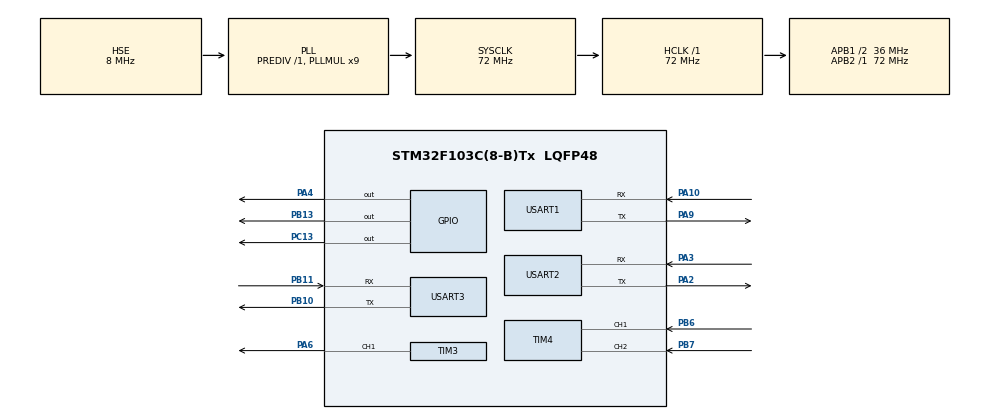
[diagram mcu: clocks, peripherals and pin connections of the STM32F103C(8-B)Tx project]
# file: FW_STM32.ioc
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Mcu.Family=STM32F1
Mcu.Name=STM32F103C(8-B)Tx
Mcu.Package=LQFP48
NVIC.PriorityGroup=NVIC_PRIORITYGROUP_4
NVIC.TIM2_IRQn=true\:0\:0\:false\:false\:true\:true\:true
NVIC.USART1_IRQn=true\:0\:0\:false\:false\:true\:true\:true
NVIC.USART2_IRQn=true\:0\:0\:false\:false\:true\:true\:true
NVIC.USART3_IRQn=true\:0\:0\:false\:false\:true\:true\:true
PA10.Mode=Asynchronous
PA10.Signal=USART1_RX
PA13.Mode=Serial_Wire
PA13.Signal=SYS_JTMS-SWDIO
PA14.Mode=Serial_Wire
PA14.Signal=SYS_JTCK-SWCLK
PA2.Mode=Asynchronous
PA2.Signal=USART2_TX
PA3.Mode=Asynchronous
PA3.Signal=USART2_RX
PA4.Signal=GPIO_Output
PA6.Signal=S_TIM3_CH1
PA9.Mode=Asynchronous
PA9.Signal=USART1_TX
PB10.Mode=Asynchronous
PB10.Signal=USART3_TX
PB11.Mode=Asynchronous
PB11.Signal=USART3_RX
PB13.Signal=GPIO_Output
PB6.Signal=S_TIM4_CH1
PB7.Signal=S_TIM4_CH2
PC13-TAMPER-RTC.Signal=GPIO_Output
PD0-OSC_IN.Mode=HSE-External-Oscillator
PD0-OSC_IN.Signal=RCC_OSC_IN
PD1-OSC_OUT.Mode=HSE-External-Oscillator
PD1-OSC_OUT.Signal=RCC_OSC_OUT
ProjectManager.HeapSize=0x200
ProjectManager.StackSize=0x400
ProjectManager.TargetToolchain=MDK-ARM V5.27
RCC.AHBFreq_Value=72000000
RCC.APB1CLKDivider=RCC_HCLK_DIV2
RCC.APB1Freq_Value=36000000
RCC.APB1TimFreq_Value=72000000
RCC.APB2Freq_Value=72000000
RCC.APB2TimFreq_Value=72000000
RCC.HCLKFreq_Value=72000000
RCC.PLLMUL=RCC_PLL_MUL9
RCC.PLLSourceVirtual=RCC_PLLSOURCE_HSE
RCC.SYSCLKFreq_VALUE=72000000
RCC.SYSCLKSource=RCC_SYSCLKSOURCE_PLLCLK
RCC.USBFreq_Value=72000000
SH.S_TIM3_CH1.0=TIM3_CH1,PWM Generation1 CH1
SH.S_TIM4_CH1.0=TIM4_CH1,Encoder_Interface
SH.S_TIM4_CH2.0=TIM4_CH2,Encoder_Interface
TIM2.Period=3599
TIM2.Prescaler=99
TIM3.Channel-PWM\ Generation1\ CH1=TIM_CHANNEL_1
TIM3.CounterMode=TIM_COUNTERMODE_CENTERALIGNED3
TIM3.Period=7199
TIM3.Prescaler=9
TIM4.EncoderMode=TIM_ENCODERMODE_TI12
USART1.VirtualMode=VM_ASYNC
USART2.VirtualMode=VM_ASYNC
USART3.VirtualMode=VM_ASYNC
VP_TIM2_VS_ClockSourceINT.Mode=Internal
board=custom

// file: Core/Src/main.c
#include "main.h"
#include "tim.h"
#include "usart.h"
#include "gpio.h"

#include <stdbool.h>
#include <stdint.h>
#include <string.h>
#include <math.h>
#include <stdio.h>
#include <stdlib.h>

#include "pid.h"
#include "motor.h"
#include "serial.h"
#include "cJSON.h"
#include "pidspeedgraph.h"

//xu  ly json

unsigned  int i = 0;
float SETP = 0;
float SS = 0;
float ACT = 0;
unsigned int GTKP = 0;
unsigned int GTKI = 0;
unsigned int GTKD = 0;
char Str_set_point[100];
char Str_error_data[100];
char Str_act_pos[100];
char Str_gtrKp[100];
char Str_gtrKi[100];
char Str_gtrKd[100];
char JSON[100];

cJSON *str_json,*str_set_point, *str_error_data, *str_act_pos, *str_gtrKp , *str_gtrKi, *str_gtrKd, *str_Mode;
long last = 0;

//khai bao du lieu

 void chuyendoi(void);
void SendData(unsigned int SETP , unsigned int SS , unsigned int ACT , unsigned int GTKP , unsigned int GTKI , unsigned  int GTKD);
void SystemClock_Config(void);

//truy?n prinft
#ifdef __GNUC__
     #define PUTCHAR_PROTOTYPE int __io_putchar (int ch)
#else
		 #define PUTCHAR_PROTOTYPE int fputc(int ch, FILE *f)
#endif
PUTCHAR_PROTOTYPE
{// CONG PC

	HAL_UART_Transmit(&huart3, (uint8_t *)&ch,1,0xFFFF);

	return ch;}

/* USER CODE BEGIN 0 */
extern PID_CONTROL_t tPIDControl;
extern PROFILE_t tProfile;
extern PROCESS_t tProcess;
extern bool flag;
extern bool g_bDataAvailable;
extern uint8_t nTxBuff[MAX_LEN];
extern uint8_t g_strCommand[4];
extern uint8_t g_nOption[3];
extern uint8_t g_nData[8];
extern uint8_t g_nRxBuff[MAX_LEN];
extern uint32_t g_nActPulse;
extern uint32_t g_nCmdPulse;
extern uint16_t g_nIndex;
extern float g_dPIDError;
extern double speed, position;
 extern int a;
//copy
uint8_t Comand[4];
uint8_t option[3];
uint8_t CLEAR[64];
//extern char speed_txBuffer[64]; //tx
//extern uint8_t speed_rxBuffer[64]; //rx
extern double Kp , Ki, Kd;
extern int duty, run, mode;
extern double e, ep, p_e, pp_e, pPart , iPart, dPart, udk, predPart , pwm;
extern float m_i;

 extern int setpoint;
float sect;

bool temp = false;
 int stop=0;
//uint8_t rx_data;
uint8_t g_strTxCommand[4];
uint8_t g_nTxOption[3];
uint8_t g_nTxData[8];
uint16_t g_nTuningSampleCount = 0;
/* USER CODE END 0 */

int main(void)
 {

  HAL_Init();

  SystemClock_Config();

  MX_GPIO_Init();
  MX_USART1_UART_Init();
  MX_TIM2_Init();
  MX_TIM3_Init();
  MX_TIM4_Init();
  MX_USART2_UART_Init();
  MX_USART3_UART_Init();
	 //  MX_DMA_Init();
  /* USER CODE BEGIN 2 */
  SerialInit();
  MotorInit();
  tProcess = NONE;
   last = HAL_GetTick();
  while (1)
  {
			    if(a!=2)
		{	SerialAcceptReceivespeed();}
		else
		{
			      if (flag == true)
	  	  	{
	  	  	Receive_data_processing();
						HAL_Delay(1000);
						 flag = false;
					SerialAcceptReceivespeed();
		       }

	  	  	if (run==1)
	  	  	{
	  	  		m_i = ENC0_GetSpeed();
	  	  		if (mode==1)
	  	  		{
						speed=m_i*60.0/0.2/2120;
//							if (speed > 65000){
//			      speed = 65535 - speed;}

							kalman_filter(speed);

	  	  		//	PIDCompute(&tPIDControl, setpoint, speed, 0.01f);
							PID_speed();
	  	  		}

	  	  		xuat_PWM();
	  	  		HAL_Delay(200);
	  	  	}
	  	  	else
	  	  	{
	  	    	m_i=ENC0_GetSpeed();
	  	    	setpoint=0;
	  	    	pwm=0;
	  	  		if (mode==1)
	  	  		{
	  	  			speed=m_i*60.0/0.2/2120;
//							if (speed > 65000){
//			      speed = 65535 - speed;}
					      kalman_filter(speed);
	  	  			//PIDCompute(&tPIDControl, setpoint, speed, 0.01f);
							PID_speed();
	  	  		}

	  	  		udk=0;
	  	  		xuat_PWM();
	  	  		HAL_Delay(100);
	  	  	}

		}

		if (a !=2 )
		{	if (HAL_GetTick() - last >= 1500)
		  {
		chuyendoi();
		SendData( SETP ,  SS ,  ACT ,  GTKP ,  GTKI ,  GTKD);
			last = HAL_GetTick();

		  }

		}

    if (g_bDataAvailable == true)
    {
      if (StrCompare(g_strCommand, (uint8_t *)"SPID", 4))
      {
        tProcess = SPID;
      }
      else if (StrCompare(g_strCommand, (uint8_t *)"CTUN", 4))
      {
        tProcess = CTUN_RES;
      }
			else if (StrCompare(g_strCommand, (uint8_t *)"SECT", 4))
      {
        tProcess = SECT;
      }
			else if (StrCompare(g_strCommand, (uint8_t *)"SPED", 4))
      {
        tProcess = SPED;
      }
			else if (StrCompare(g_strCommand, (uint8_t *)"SERV", 4))
      {
        tProcess = SERV;
      }
			else if (StrCompare(g_strCommand, (uint8_t *)"STOP", 4))
      {
        tProcess = STOP;
      }
      else if (StrCompare(g_strCommand, (uint8_t *)"GPID", 4))
      {
        tProcess = GPID;
      }
      else if (StrCompare(g_strCommand, (uint8_t *)"CSET", 4))
      {
        tProcess = CSET;
      }
      else if (StrCompare(g_strCommand, (uint8_t *)"CRUN", 4))
      {
        tProcess = CRUN_RES;
      }
      else if (StrCompare(g_strCommand, (uint8_t *)"GRMS", 4))
      {
        tProcess = GRMS;
      }
      else
      {
        tProcess = NONE;
      }
			g_bDataAvailable = false;
    }
    switch (tProcess)
    {
    case NONE:
      SerialAcceptReceive();
		if(a==2)
		{	SerialAcceptReceivespeed();}
      break;
		case SECT:
			 SerialWriteComm(g_strCommand, g_nOption, g_nData);
			sect = g_nData[0] + (float)g_nData[1] / pow(10,(double)g_nData[6]);
      tPIDControl.dSet = sect;
		tProcess = NONE;
      break;
		case SPED:
			 SerialWriteComm(g_strCommand, g_nOption, g_nData);
			       a = 2;

			 tProcess = NONE;

      break;
		case SERV:

    tProcess = NONE;

      break;
		case STOP:
			a = 5;

		SerialWriteComm(g_strCommand, g_nOption, g_nData);
		setpoint=0;
	  	    	pwm=0;
		  tProcess = NONE;

      break;
    case SPID:
      SerialWriteComm(g_strCommand, g_nOption, g_nData);
			g_nCmdPulse = 0;
			PIDReset(&tPIDControl);
			__HAL_TIM_SetCounter(&htim4, 0);
			g_nIndex = 0;

      /* Get PID params */
      	tPIDControl.dKp = g_nData[0] + (float)g_nData[1] / pow(10,(double)g_nData[6]);
			tPIDControl.dKi = g_nData[2] + (float)g_nData[3] / pow(10,(double)g_nData[6]);
			tPIDControl.dKd = g_nData[4] + (float)g_nData[5] / pow(10,(double)g_nData[6]);
     // tPIDControl.dSet =
      tProcess = NONE;
      break;
    case CTUN_RES:
      SerialWriteComm(g_strCommand, g_nOption, g_nData);
      tProcess = CTUN;
      break;
    case CTUN:
      break;
    case GPID:
      for (int index = 0; index < (g_nIndex - 1); index++)
      {
				sprintf((char *)g_strTxCommand, "%s", g_strCommand);
				memset(g_nTxOption, '\0', 3);
				g_nTxData[6] = (tPIDControl.nSampleTuningPID[index]&0xFF00) >> 8;
				g_nTxData[7] = (tPIDControl.nSampleTuningPID[index]&0xFF);
				g_nTxData[4] = ((uint16_t)g_dPIDError&0xFF00) >> 8;
				g_nTxData[5] = ((uint16_t)g_dPIDError&0xFF);
				g_nTxData[2] = (index&0xFF00) >> 8;
				g_nTxData[3] = (index&0xFF);
				g_nTxData[0] = 0;
				g_nTxData[1] = 199;

        SerialWriteComm(g_strTxCommand, g_nTxOption, g_nTxData);
        memset(g_strTxCommand, '\0', 4);
        memset(g_nTxOption, '\0', 3);
        memset(g_nTxData, '\0', 8);
        HAL_Delay(40);
      }
      g_bDataAvailable = false;
      SerialAcceptReceive();
      tProcess = NONE;
      break;
    case CSET:
      SerialWriteComm(g_strCommand, g_nOption, g_nData);

      PIDReset(&tPIDControl);
      g_nActPulse = 0;
      g_nCmdPulse = 0;

      // Get Pmax, Vmax, Amax
			tProfile.dAccelMax = (float)((g_nData[2] >> 4) * 4096) + (float)((g_nData[2] & 0x0F) * 256) + (float)((g_nData[3] >> 4) * 16) + (float)((g_nData[3] & 0x0F) * 1);
      tProfile.dVelMax = (float)((g_nData[4] >> 4) * 4096) + (float)((g_nData[4] & 0x0F) * 256) + (float)((g_nData[5] >> 4) * 16) + (float)((g_nData[5] & 0x0F) * 1);
      tProfile.dPosMax = (float)((g_nData[6] >> 4) * 4096) + (float)((g_nData[6] & 0x0F) * 256) + (float)((g_nData[7] >> 4) * 16) + (float)((g_nData[7] & 0x0F) * 1);

			// Calculate params for trapezoidal speed
      tProfile.dA1 = 0.5f * tProfile.dAccelMax;
      tProfile.dA2 = tProfile.dVelMax;
      tProfile.dB2 = -0.5f * tProfile.dVelMax * tProfile.dVelMax / tProfile.dAccelMax;
      tProfile.dA3 = -0.5f * tProfile.dAccelMax;
      tProfile.dB3 = tProfile.dPosMax * tProfile.dAccelMax / tProfile.dVelMax + tProfile.dVelMax;
      tProfile.dC3 = -0.5f * tProfile.dPosMax * tProfile.dPosMax * tProfile.dAccelMax / (tProfile.dVelMax * tProfile.dVelMax) - 0.5f * tProfile.dVelMax * tProfile.dVelMax / tProfile.dAccelMax;
      tProfile.dMidStep1 = tProfile.dVelMax / tProfile.dAccelMax;
      tProfile.dMidStep2 = tProfile.dPosMax / tProfile.dVelMax;
      tProfile.dMidStep3 = tProfile.dMidStep1 + tProfile.dMidStep2;

      tProfile.nTime = 0;
      tProcess = NONE;
      break;
    case CRUN_RES:
      SerialWriteComm(g_strCommand, g_nOption, g_nData);
			g_nCmdPulse = 0;
			PIDReset(&tPIDControl);
			__HAL_TIM_SetCounter(&htim4, 0);
			g_nIndex = 0;
      tProcess = CRUN;
      break;
    case CRUN:
      g_bDataAvailable = false;
      SerialAcceptReceive();
      break;
    case GRMS:
			for (int index = 0; index < (g_nIndex - 1); index++)
      {
				sprintf((char *)g_strTxCommand, "%s", g_strCommand);
				memset(g_nTxOption, '\0', 3);
				g_nTxData[6] = (tPIDControl.nActPosSample[index]&0xFF00) >> 8;
				g_nTxData[7] = (tPIDControl.nActPosSample[index]&0xFF);
				g_nTxData[4] = ((uint16_t)g_dPIDError&0xFF00) >> 8;
				g_nTxData[5] = ((uint16_t)g_dPIDError&0xFF);
				g_nTxData[2] = (index&0xFF00) >> 8;
				g_nTxData[3] = (index&0xFF);
				g_nTxData[0] = ((g_nIndex - 2)&0xFF00) >> 8;
				g_nTxData[1] = ((g_nIndex - 2)&0xFF);

        SerialWriteComm(g_strTxCommand, g_nTxOption, g_nTxData);
        memset(g_strTxCommand, '\0', 4);
        memset(g_nTxOption, '\0', 3);
        memset(g_nTxData, '\0', 8);
        HAL_Delay(50);
      }

      g_bDataAvailable = false;
      SerialAcceptReceive();
      tProcess = NONE;
      break;
    }
  } //end while
  /* USER CODE END 3 */
}

void SystemClock_Config(void)
{
  RCC_OscInitTypeDef RCC_OscInitStruct = {0};
  RCC_ClkInitTypeDef RCC_ClkInitStruct = {0};

  /** Initializes the RCC Oscillators according to the specified parameters
  * in the RCC_OscInitTypeDef structure.
  */
  RCC_OscInitStruct.OscillatorType = RCC_OSCILLATORTYPE_HSE;
  RCC_OscInitStruct.HSEState = RCC_HSE_ON;
  RCC_OscInitStruct.HSEPredivValue = RCC_HSE_PREDIV_DIV1;
  RCC_OscInitStruct.HSIState = RCC_HSI_ON;
  RCC_OscInitStruct.PLL.PLLState = RCC_PLL_ON;
  RCC_OscInitStruct.PLL.PLLSource = RCC_PLLSOURCE_HSE;
  RCC_OscInitStruct.PLL.PLLMUL = RCC_PLL_MUL9;
  if (HAL_RCC_OscConfig(&RCC_OscInitStruct) != HAL_OK)
  {
    Error_Handler();
  }
  /** Initializes the CPU, AHB and APB buses clocks
  */
  RCC_ClkInitStruct.ClockType = RCC_CLOCKTYPE_HCLK|RCC_CLOCKTYPE_SYSCLK
                              |RCC_CLOCKTYPE_PCLK1|RCC_CLOCKTYPE_PCLK2;
  RCC_ClkInitStruct.SYSCLKSource = RCC_SYSCLKSOURCE_PLLCLK;
  RCC_ClkInitStruct.AHBCLKDivider = RCC_SYSCLK_DIV1;
  RCC_ClkInitStruct.APB1CLKDivider = RCC_HCLK_DIV2;
  RCC_ClkInitStruct.APB2CLKDivider = RCC_HCLK_DIV1;

  if (HAL_RCC_ClockConfig(&RCC_ClkInitStruct, FLASH_LATENCY_2) != HAL_OK)
  {
    Error_Handler();
  }
}

/* USER CODE BEGIN 4 */
/* Timer 2: 10ms */
void HAL_TIM_PeriodElapsedCallback(TIM_HandleTypeDef *htim)
{
  if (htim->Instance == htim2.Instance)
  {
    switch (tProcess)
    {
    case NONE:
      break;
    case SPID:
      break;
		case CTUN_RES:
			break;
		case SECT:
			break;
    case CTUN:
			if (g_nIndex <= 200)
			{
			//	MotorTuning(25);
			//	PID_CONTROL_t *PID_Set;
				MotorTuning(sect);
				//MotorTuning(25);
			}
      else
			{
				tProcess = NONE;
				MotorSetDuty(0);
			}
      break;
    case GPID:
      break;
    case CSET:
      break;
		case SPED:

      break;
		case SERV:
			break;
		case STOP:
			break;
		case CRUN_RES:
			break;
    case CRUN:
      MotorMovePos();
      break;
    case GRMS:
      break;
    }
  }
}
/* USER CODE END 4 */

void Error_Handler(void)
{

}

//void HAL_UART_RxCpltCallback(UART_HandleTypeDef *huart)
//	{
//
//	}

void chuyendoi(void)
	{

		  SS = g_dPIDError;
		SETP = g_nCmdPulse;
		ACT = g_nCmdPulse - g_dPIDError;
//		PID_CONTROL_t *PID_Ctrl;
		GTKP = tPIDControl.dKp;
		GTKI = tPIDControl.dKi;
		GTKD = tPIDControl.dKd;
//		else
//		{
////////			SS = e;
////////		SETP = setpoint;
////////		ACT = speed;
////////		GTKP = Kp;
////////		GTKI = Ki;
////////		GTKD = Kd;
//		SS = 6;
//		SETP = 8;
//		ACT = 7;
//		//PID_CONTROL_t *PID_Ctrl;
//		GTKP = 56;
//		GTKI = 89;
//		GTKD = 44;
//		}

	}

	void Xulyjson(char *Datajson)
		{
			str_json = cJSON_Parse(Datajson);
			if(!str_json)
				{
					printf(" JSON ERROR\r\n");
					return;

				}
				else
					{
						printf(" JSON ok\r\n");
						if (cJSON_GetObjectItem(str_json, ""))
						{
							uint8_t Setpoint_P = atoi(cJSON_GetObjectItem(str_json, "")->valuestring);
						}
						else if (cJSON_GetObjectItem(str_json, ""))
						{}
						cJSON_Delete(str_json);
					}

		}

	void SendData(unsigned int SETP , unsigned int SS , unsigned int ACT , unsigned int GTKP , unsigned int GTKI , unsigned  int GTKD)

  { // {"ND":DA":"gia tri do am"}
	for(int i=0 ; i<100 ; i++)
	{
   JSON[i] = 0;
		Str_set_point[i] = 0;
		Str_error_data[i] = 0;
		Str_act_pos[i] = 0;
		Str_gtrKp[i] = 0;
		Str_gtrKi[i] = 0;
		Str_gtrKd[i] = 0;}
	// truyen du lieu vao char
	sprintf(Str_set_point, "%d", SETP);
	sprintf(Str_error_data, "%d", SS);
	sprintf(Str_act_pos, "%d", ACT);
	sprintf(Str_gtrKp, "%d", GTKP);
	sprintf(Str_gtrKi, "%d", GTKI);
	sprintf(Str_gtrKd, "%d", GTKD);
		//{"SETP":"123","SS":"456","ACT":"1","GTKP":"2","GTKI":"2","GTKD":"2"}
 //  strcat(JSON,"{\"ND\":\""�);
		strcat(JSON, "{\"SETP\":\"");
   strcat(JSON, Str_set_point);
	 strcat(JSON,"\",\"SS\":\"");
   strcat(JSON, Str_error_data);
   strcat(JSON, "\",\"ACT\":\"");
   strcat(JSON,Str_act_pos);
		strcat(JSON, "\",\"GTKP\":\"");
		 strcat(JSON,Str_gtrKp);
		strcat(JSON, "\",\"GTKI\":\"");
		strcat(JSON,Str_gtrKi);
    strcat(JSON,"\",\"GTKD\":\"");
		strcat(JSON,Str_gtrKd);
		strcat(JSON,"\"}\n");
   printf("%s", JSON);
	 //send du lieu cho esp8266
	 HAL_UART_Transmit(&huart2,(uint8_t*)&JSON,strlen(JSON),1000);

	}

/************************ (C) COPYRIGHT STMicroelectronics *****END OF FILE****/
